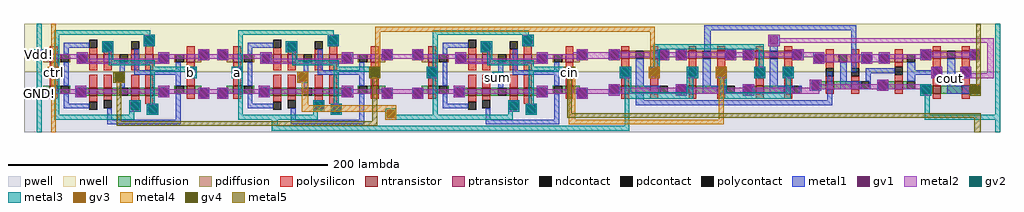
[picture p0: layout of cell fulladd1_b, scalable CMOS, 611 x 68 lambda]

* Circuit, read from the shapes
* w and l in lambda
.subckt fulladd1_b GND! Vdd! a b cin cout ctrl sum
M1 n1 ctrl GND! VSUBS nfet w=5 l=5
M2 n2 n1 GND! VSUBS nfet w=5 l=5
M3 fulladd1_0/b n3 n2 VSUBS nfet w=5 l=5
M4 n4 ctrl fulladd1_0/b VSUBS nfet w=5 l=5
M5 GND! b n4 VSUBS nfet w=5 l=5
M6 GND! b n3 VSUBS nfet w=5 l=5
M7 n5 a GND! VSUBS nfet w=5 l=5
M8 n6 n5 GND! VSUBS nfet w=5 l=5
M9 fulladd1_0/sum_0/mid n7 n6 VSUBS nfet w=5 l=5
M10 n8 a fulladd1_0/sum_0/mid VSUBS nfet w=5 l=5
M11 GND! fulladd1_0/b n8 VSUBS nfet w=5 l=5
M12 GND! fulladd1_0/b n7 VSUBS nfet w=5 l=5
M13 n9 fulladd1_0/sum_0/mid GND! VSUBS nfet w=5 l=5
M14 n10 n9 GND! VSUBS nfet w=5 l=5
M15 sum n11 n10 VSUBS nfet w=5 l=5
M16 n12 fulladd1_0/sum_0/mid sum VSUBS nfet w=5 l=5
M17 GND! cin n12 VSUBS nfet w=5 l=5
M18 GND! cin n11 VSUBS nfet w=5 l=5
M19 n13 a GND! VSUBS nfet w=5 l=5
M20 fulladd1_0/cout_0/ab fulladd1_0/b n13 VSUBS nfet w=5 l=5
M21 n14 a GND! VSUBS nfet w=5 l=5
M22 fulladd1_0/cout_0/acin cin n14 VSUBS nfet w=5 l=5
M23 n15 fulladd1_0/b GND! VSUBS nfet w=5 l=5
M24 fulladd1_0/cout_0/bcin cin n15 VSUBS nfet w=5 l=5
M25 n16 fulladd1_0/cout_0/ab GND! VSUBS nfet w=5 l=5
M26 n17 fulladd1_0/cout_0/acin n16 VSUBS nfet w=5 l=5
M27 fulladd1_0/cout_0/andout n17 GND! VSUBS nfet w=5 l=5
M28 n18 fulladd1_0/cout_0/andout GND! VSUBS nfet w=5 l=5
M29 cout fulladd1_0/cout_0/bcin n18 VSUBS nfet w=5 l=5
M30 n1 ctrl Vdd! n19 pfet w=5 l=5
M31 n20 n1 Vdd! n19 pfet w=5 l=5
M32 fulladd1_0/b b n20 n19 pfet w=5 l=5
M33 n21 n3 fulladd1_0/b n19 pfet w=5 l=5
M34 Vdd! ctrl n21 n19 pfet w=5 l=5
M35 Vdd! b n3 n19 pfet w=5 l=5
M36 n5 a Vdd! n19 pfet w=5 l=5
M37 n22 n5 Vdd! n19 pfet w=5 l=5
M38 fulladd1_0/sum_0/mid fulladd1_0/b n22 n19 pfet w=5 l=5
M39 n23 n7 fulladd1_0/sum_0/mid n19 pfet w=5 l=5
M40 Vdd! a n23 n19 pfet w=5 l=5
M41 Vdd! fulladd1_0/b n7 n19 pfet w=5 l=5
M42 n9 fulladd1_0/sum_0/mid Vdd! n19 pfet w=5 l=5
M43 n24 n9 Vdd! n19 pfet w=5 l=5
M44 sum cin n24 n19 pfet w=5 l=5
M45 n25 n11 sum n19 pfet w=5 l=5
M46 Vdd! fulladd1_0/sum_0/mid n25 n19 pfet w=5 l=5
M47 Vdd! cin n11 n19 pfet w=5 l=5
M48 fulladd1_0/cout_0/ab a Vdd! n19 pfet w=5 l=5
M49 Vdd! fulladd1_0/b fulladd1_0/cout_0/ab n19 pfet w=5 l=5
M50 fulladd1_0/cout_0/acin a Vdd! n19 pfet w=5 l=5
M51 Vdd! cin fulladd1_0/cout_0/acin n19 pfet w=5 l=5
M52 fulladd1_0/cout_0/bcin fulladd1_0/b Vdd! n19 pfet w=5 l=5
M53 Vdd! cin fulladd1_0/cout_0/bcin n19 pfet w=5 l=5
M54 n17 fulladd1_0/cout_0/ab Vdd! n19 pfet w=5 l=5
M55 Vdd! fulladd1_0/cout_0/acin n17 n19 pfet w=5 l=5
M56 fulladd1_0/cout_0/andout n17 Vdd! n19 pfet w=5 l=5
M57 cout fulladd1_0/cout_0/andout Vdd! n19 pfet w=5 l=5
M58 Vdd! fulladd1_0/cout_0/bcin cout n19 pfet w=5 l=5
.ends

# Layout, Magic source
magic
tech scmos
<< nwell >>
rect -121 51 -1 56
<< metal1 >>
rect 458 20 462 30
rect 471 11 478 18
<< metal2 >>
rect -115 33 -108 40
rect -13 34 9 37
rect -65 19 -58 26
rect 172 19 179 26
rect -115 9 -108 16
rect -12 12 10 15
rect 440 11 447 18
rect 471 11 478 18
<< gv1 >>
rect 472 12 477 17
<< metal3 >>
rect -113 40 -110 56
rect -115 33 -108 40
rect -113 -12 -110 33
rect -106 22 -99 29
rect -65 19 -58 26
rect -20 22 -13 29
rect 9 22 16 29
rect 440 11 447 18
rect 471 11 478 18
rect 443 -1 446 11
rect 487 -1 490 56
rect 443 -4 490 -1
rect 487 -12 490 -4
<< gv2 >>
rect -114 34 -109 39
rect -64 20 -59 25
rect 96 23 101 28
rect 441 12 446 17
rect 472 12 477 17
<< metal4 >>
rect -104 29 -101 56
rect -106 22 -99 29
rect -104 -12 -101 22
rect -65 19 -58 26
rect 95 22 102 29
rect 217 22 224 29
rect 471 11 478 18
<< gv3 >>
rect -105 23 -100 28
rect -64 20 -59 25
rect 96 23 101 28
rect 218 23 223 28
rect 472 12 477 17
<< metal5 >>
rect -65 19 -58 26
rect 95 22 102 29
rect 217 22 224 29
rect -63 -5 -60 19
rect 97 -5 100 22
rect 219 0 222 22
rect 475 18 478 56
rect 471 11 478 18
rect 219 -3 478 0
rect -63 -8 100 -5
rect 474 -12 478 -3
<< gv4 >>
rect -64 20 -59 25
rect 96 23 101 28
rect 218 23 223 28
rect 472 12 477 17
use fulladd1  fulladd1_0
transform 1 0 241 0 1 9
box -247 -21 249 47
use xor2  xor2_0
transform 1 0 -80 0 1 32
box -41 -44 81 23
<< labels >>
rlabel metal3 12 25 13 26 1 a
rlabel metal3 -17 25 -16 26 1 b
rlabel metal3 -103 25 -102 26 1 ctrl
rlabel metal2 175 22 176 23 1 sum
rlabel metal1 458 20 460 23 1 cout
rlabel metal2 -112 36 -111 37 1 Vdd!
rlabel metal2 -112 12 -111 13 1 GND!
rlabel metal4 220 25 221 26 1 cin
<< end >>

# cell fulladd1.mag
magic
tech scmos
<< nwell >>
rect -247 39 7 47
<< pwell >>
rect -10 -21 249 -1
<< metal1 >>
rect 218 9 221 14
<< metal2 >>
rect -239 26 -235 30
rect -18 25 9 29
rect -68 11 -63 16
rect -239 2 -236 5
rect -16 3 9 6
<< metal3 >>
rect -230 14 -227 19
rect -23 14 -18 19
rect 71 13 78 20
rect -207 -17 -203 -10
rect 14 -17 17 3
rect -207 -20 17 -17
<< metal4 >>
rect -142 42 33 45
rect -142 20 -139 42
rect 30 20 33 42
rect -146 13 -139 20
rect -24 13 -17 20
rect 29 13 36 20
rect 71 13 78 20
rect -21 -13 -17 13
rect 73 -13 76 13
rect -21 -16 76 -13
<< gv3 >>
rect -145 14 -140 19
rect -23 14 -18 19
rect 30 14 35 19
rect 72 14 77 19
use sum  sum_0
transform 1 0 -236 0 1 -21
box -11 0 233 67
use cout  cout_0
transform 1 0 -2 0 1 -3
box -2 -3 251 50
<< labels >>
rlabel metal3 -229 16 -228 17 1 a
rlabel gv3 -143 16 -142 17 1 b
rlabel gv3 -21 16 -20 17 1 cin
rlabel space -247 -21 -125 46 1 Vdd!
rlabel metal2 -238 3 -237 4 1 GND!
rlabel metal2 -66 13 -65 15 1 sum
rlabel metal1 218 11 219 12 1 cout
rlabel metal2 -238 27 -237 28 1 Vdd!
<< end >>

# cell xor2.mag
magic
tech scmos
<< nwell >>
rect -41 -6 81 23
<< pwell >>
rect -41 -42 81 -6
rect -41 -44 76 -42
<< ntransistor >>
rect -25 -20 -20 -15
rect 0 -21 5 -16
rect 9 -21 14 -16
rect 26 -21 31 -16
rect 35 -21 40 -16
rect 61 -20 66 -15
<< ptransistor >>
rect -25 0 -20 5
rect 0 0 5 5
rect 9 0 14 5
rect 26 0 31 5
rect 35 0 40 5
rect 61 0 66 5
<< ndiffusion >>
rect -35 -22 -34 -17
rect -29 -20 -25 -15
rect -20 -20 -18 -15
rect -13 -20 -12 -15
rect -29 -22 -28 -20
rect -9 -21 -8 -16
rect -3 -21 0 -16
rect 5 -21 9 -16
rect 14 -21 19 -16
rect 24 -21 26 -16
rect 31 -21 35 -16
rect 40 -21 44 -16
rect 53 -20 54 -15
rect 59 -20 61 -15
rect 66 -17 70 -15
rect 66 -20 69 -17
rect 68 -22 69 -20
rect 74 -22 75 -17
<< pdiffusion >>
rect -35 2 -34 7
rect -29 5 -28 7
rect 68 5 69 7
rect -29 0 -25 5
rect -20 0 -18 5
rect -13 0 -12 5
rect -8 0 -7 5
rect -2 0 0 5
rect 5 0 9 5
rect 14 0 19 5
rect 24 0 26 5
rect 31 0 35 5
rect 40 0 44 5
rect 49 0 50 5
rect 53 0 54 5
rect 59 0 61 5
rect 66 2 69 5
rect 74 2 75 7
rect 66 0 70 2
<< ndcontact >>
rect -34 -22 -29 -17
rect -18 -20 -13 -15
rect -8 -21 -3 -16
rect 19 -21 24 -16
rect 44 -21 49 -16
rect 54 -20 59 -15
rect 69 -22 74 -17
<< pdcontact >>
rect -34 2 -29 7
rect -18 0 -13 5
rect -7 0 -2 5
rect 19 0 24 5
rect 44 0 49 5
rect 54 0 59 5
rect 69 2 74 7
<< polysilicon >>
rect -25 5 -20 10
rect 0 5 5 9
rect 9 5 14 7
rect 26 5 31 8
rect 35 5 40 11
rect 61 5 66 10
rect -25 -4 -20 0
rect 0 -5 5 0
rect 9 -5 14 0
rect 26 -5 31 0
rect 35 -5 40 0
rect 61 -4 66 0
rect -25 -15 -20 -9
rect 0 -16 5 -8
rect 9 -16 14 -8
rect 26 -16 31 -8
rect 35 -16 40 -8
rect 61 -15 66 -9
rect -25 -23 -20 -20
rect 0 -25 5 -21
rect 9 -24 14 -21
rect 26 -25 31 -21
rect 35 -26 40 -21
rect 61 -23 66 -20
rect 36 -27 42 -26
<< polycontact >>
rect 0 9 5 14
rect 9 7 14 12
rect 26 8 31 13
rect 35 11 40 16
rect -25 -9 -20 -4
rect 61 -9 66 -4
rect 0 -30 5 -25
rect 9 -29 14 -24
rect 26 -30 31 -25
rect 37 -32 42 -27
<< metal1 >>
rect 34 16 41 17
rect -16 9 0 12
rect 8 12 15 13
rect -35 7 -28 8
rect -35 2 -34 7
rect -29 2 -28 7
rect -16 5 -13 9
rect 8 7 9 12
rect 14 7 15 12
rect 34 11 35 16
rect 40 11 41 16
rect 34 10 41 11
rect 8 6 15 7
rect -35 1 -28 2
rect -26 -4 -19 -3
rect -26 -9 -25 -4
rect -20 -9 -19 -4
rect -26 -10 -19 -9
rect -16 -15 -13 0
rect -8 5 -1 6
rect -8 0 -7 5
rect -2 0 -1 5
rect -8 -1 -1 0
rect 19 -6 22 0
rect 15 -13 22 -6
rect 28 -5 31 8
rect 68 7 75 8
rect 43 5 50 6
rect 43 0 44 5
rect 49 0 50 5
rect 43 -1 50 0
rect 68 2 69 7
rect 74 2 75 7
rect 68 1 75 2
rect 54 -5 57 0
rect 28 -8 57 -5
rect -35 -17 -28 -16
rect -35 -22 -34 -17
rect -29 -22 -28 -17
rect -35 -23 -28 -22
rect -16 -26 -13 -20
rect -9 -16 -2 -15
rect -9 -21 -8 -16
rect -3 -21 -2 -16
rect 19 -16 22 -13
rect 54 -15 57 -8
rect 60 -4 67 -3
rect 60 -9 61 -4
rect 66 -9 67 -4
rect 60 -10 67 -9
rect 43 -16 50 -15
rect 43 -21 44 -16
rect 49 -21 50 -16
rect -9 -22 -2 -21
rect 43 -22 50 -21
rect 68 -17 75 -16
rect -16 -29 0 -26
rect 11 -36 14 -29
rect 25 -25 32 -24
rect 25 -30 26 -25
rect 31 -30 32 -25
rect 25 -31 32 -30
rect 36 -27 43 -26
rect 36 -32 37 -27
rect 42 -32 43 -27
rect 36 -33 43 -32
rect 54 -36 57 -20
rect 68 -22 69 -17
rect 74 -22 75 -17
rect 68 -23 75 -22
rect 11 -39 57 -36
<< metal2 >>
rect -35 5 -28 8
rect 8 6 15 13
rect 34 10 41 17
rect -8 5 -1 6
rect -35 2 -1 5
rect 43 5 50 6
rect 68 5 75 8
rect 43 2 75 5
rect -35 1 -28 2
rect -8 -1 50 2
rect 68 1 75 2
rect -26 -10 -19 -3
rect 15 -13 22 -6
rect 60 -10 67 -3
rect -35 -17 -28 -16
rect -9 -17 -2 -15
rect 43 -17 50 -15
rect 68 -17 75 -16
rect -35 -20 75 -17
rect -35 -23 -28 -20
rect -9 -22 -2 -20
rect 43 -22 50 -20
rect 68 -23 75 -20
rect 25 -31 32 -24
rect 36 -33 43 -26
<< gv1 >>
rect 9 7 14 12
rect 35 11 40 16
rect -34 2 -29 7
rect -7 0 -2 5
rect 44 0 49 5
rect 69 2 74 7
rect -25 -9 -20 -4
rect 16 -12 21 -7
rect 61 -9 66 -4
rect -34 -22 -29 -17
rect -8 -21 -3 -16
rect 44 -21 49 -16
rect 69 -22 74 -17
rect 26 -30 31 -25
rect 37 -32 42 -27
<< metal3 >>
rect -22 17 38 20
rect -22 -3 -19 17
rect 8 6 15 13
rect 34 10 41 17
rect 12 1 15 6
rect 12 -2 41 1
rect -26 -10 -19 -3
rect 38 -3 41 -2
rect 38 -6 67 -3
rect -22 -33 -19 -10
rect 15 -13 22 -6
rect 25 -31 32 -24
rect 38 -26 41 -6
rect 60 -10 67 -6
rect 25 -33 28 -31
rect 36 -33 43 -26
rect -22 -36 28 -33
<< gv2 >>
rect 9 7 14 12
rect 35 11 40 16
rect -25 -9 -20 -4
rect 61 -9 66 -4
rect 26 -30 31 -25
rect 37 -32 42 -27
<< labels >>
rlabel gv2 63 -7 64 -6 1 b
rlabel metal1 20 -9 21 -8 1 out
rlabel gv2 -23 -7 -22 -6 1 a
rlabel gv1 -32 4 -31 5 1 Vdd!
rlabel gv1 -32 -20 -31 -19 1 GND!
<< end >>

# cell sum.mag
magic
tech scmos
<< pwell >>
rect 99 15 107 17
rect 107 10 112 11
rect 101 8 112 10
rect 101 0 122 8
rect 224 0 233 6
<< metal2 >>
rect -5 45 2 52
rect 97 46 132 49
rect 4 34 11 41
rect 90 34 97 41
rect 167 31 174 38
rect -5 21 2 28
rect 96 24 131 27
<< metal3 >>
rect 4 34 11 41
rect 45 31 52 38
rect 90 34 97 41
rect 212 34 219 41
rect 100 11 107 15
rect 100 8 134 11
<< gv2 >>
rect 46 32 51 37
<< metal4 >>
rect 45 31 52 38
rect 48 17 52 31
rect 48 13 107 17
rect 100 8 107 13
<< gv3 >>
rect 46 32 51 37
rect 101 9 106 14
use xor2  xor2_1
transform 1 0 152 0 1 44
box -41 -44 81 23
use xor2  xor2_0
transform 1 0 30 0 1 44
box -41 -44 81 23
<< labels >>
rlabel metal3 7 37 8 38 1 a
rlabel metal3 93 37 94 38 1 b
rlabel metal3 215 37 216 38 1 cin
rlabel metal2 170 34 171 35 1 out
rlabel metal2 -2 48 -1 49 1 Vdd!
rlabel metal2 -2 24 -1 25 1 GND!
rlabel gv2 47 33 49 35 1 mid
<< end >>

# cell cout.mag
magic
tech scmos
<< nwell >>
rect -2 35 251 50
rect -1 24 251 35
rect -1 23 125 24
rect -1 20 124 23
rect 132 20 251 24
<< pwell >>
rect -1 11 124 20
rect 132 18 251 20
rect 131 16 251 18
rect -1 10 127 11
rect 129 10 251 16
rect -1 -3 251 10
<< metal1 >>
rect 66 46 161 49
rect 66 29 70 46
rect 106 36 113 43
rect 107 30 112 36
rect 24 15 27 20
rect 66 16 69 21
rect 108 17 111 22
rect 158 20 161 46
rect 195 21 197 23
rect 23 2 28 14
rect 125 6 127 11
rect 143 2 146 20
rect 194 18 211 21
rect 219 17 222 22
rect 23 -1 146 2
<< metal2 >>
rect 106 41 113 43
rect 106 38 247 41
rect 106 36 113 38
rect 6 28 12 33
rect 36 29 61 32
rect 79 29 104 32
rect 120 29 139 32
rect 175 28 207 31
rect 14 17 19 22
rect 31 16 38 23
rect 55 16 62 23
rect 73 16 80 23
rect 115 16 122 23
rect 243 19 247 38
rect 231 16 247 19
rect 7 10 13 11
rect 7 6 138 10
rect 176 9 208 12
<< gv1 >>
rect 107 37 112 42
<< metal3 >>
rect 34 34 103 37
rect 34 23 38 34
rect 100 23 103 34
rect 13 16 20 23
rect 31 16 38 23
rect 55 16 62 23
rect 73 16 80 23
rect 97 16 104 23
rect 115 16 122 23
rect 16 7 20 16
rect 55 7 59 16
rect 16 3 59 7
rect 76 7 80 16
rect 117 7 120 16
rect 76 3 120 7
<< gv2 >>
rect 14 17 19 22
rect 32 17 37 22
rect 56 17 61 22
rect 74 17 79 22
rect 98 17 103 22
rect 116 17 121 22
use nand2  nand2_3
transform 1 0 214 0 1 22
box -20 -22 30 16
use and2  and2_0
transform 1 0 147 0 1 22
box -21 -19 60 15
use nand2  nand2_0
transform 1 0 19 0 1 22
box -20 -22 30 16
use nand2  nand2_1
transform 1 0 61 0 1 22
box -20 -22 30 16
use nand2  nand2_2
transform 1 0 103 0 1 22
box -20 -22 30 16
<< labels >>
rlabel metal2 6 28 12 33 1 Vdd!
rlabel metal2 14 17 19 22 1 a
rlabel metal2 32 17 37 22 1 b
rlabel metal2 74 17 79 22 1 cin
rlabel metal1 24 15 27 20 1 ab
rlabel metal1 66 16 69 21 1 acin
rlabel metal1 108 17 111 22 1 bcin
rlabel metal2 10 7 13 11 1 GND!
rlabel metal1 195 18 197 23 1 andout
rlabel metal1 219 17 222 22 1 cout
<< end >>

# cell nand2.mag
magic
tech scmos
<< nwell >>
rect -20 -2 28 16
<< pwell >>
rect -20 -22 30 -2
<< ntransistor >>
rect -5 -16 0 -11
rect 13 -16 18 -11
<< ptransistor >>
rect -5 6 0 11
rect 13 6 18 11
<< ndiffusion >>
rect -7 -16 -5 -11
rect 0 -16 13 -11
rect 18 -16 19 -11
<< pdiffusion >>
rect -7 6 -5 11
rect 0 6 4 11
rect 9 6 13 11
rect 18 6 19 11
<< ndcontact >>
rect -12 -16 -7 -11
rect 19 -16 24 -11
<< pdcontact >>
rect -12 6 -7 11
rect 4 6 9 11
rect 19 6 24 11
<< polysilicon >>
rect -5 11 0 14
rect 13 11 18 14
rect -5 0 0 6
rect -5 -11 0 -5
rect 13 0 18 6
rect 13 -11 18 -5
rect -5 -19 0 -16
rect 13 -19 18 -16
<< polycontact >>
rect -5 -5 0 0
rect 13 -5 18 0
<< metal1 >>
rect -13 11 -6 12
rect 18 11 25 12
rect -13 6 -12 11
rect -7 6 -6 11
rect -13 5 -6 6
rect -6 0 1 1
rect -6 -5 -5 0
rect 0 -5 1 0
rect -6 -6 1 -5
rect -13 -11 -6 -10
rect -13 -16 -12 -11
rect -7 -16 -6 -11
rect 4 -11 9 6
rect 18 6 19 11
rect 24 6 25 11
rect 18 5 25 6
rect 12 0 19 1
rect 12 -5 13 0
rect 18 -5 19 0
rect 12 -6 19 -5
rect 4 -16 19 -11
rect -13 -17 -6 -16
<< metal2 >>
rect -13 10 -6 12
rect 18 10 25 12
rect -13 7 25 10
rect -13 5 -6 7
rect 18 5 25 7
rect -6 -6 1 1
rect 12 -6 19 1
rect -13 -17 -6 -10
<< gv1 >>
rect -12 6 -7 11
rect 19 6 24 11
rect -5 -5 0 0
rect 13 -5 18 0
rect -12 -16 -7 -11
<< labels >>
rlabel pdcontact -10 8 -9 9 1 Vdd!
rlabel polycontact -3 -3 -2 -2 1 a
rlabel gv1 -11 -14 -9 -13 1 GND!
rlabel metal1 6 -3 7 -2 1 out
rlabel polycontact 15 -3 16 -2 1 b
<< end >>

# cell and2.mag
magic
tech scmos
<< nwell >>
rect -21 -2 60 15
<< pwell >>
rect -21 -19 60 -2
<< ntransistor >>
rect -5 -13 0 -8
rect 11 -13 16 -8
rect 38 -13 43 -8
<< ptransistor >>
rect -5 4 0 9
rect 11 4 16 9
rect 38 4 43 9
<< ndiffusion >>
rect -9 -13 -5 -8
rect 0 -13 11 -8
rect 16 -13 17 -8
rect 33 -13 38 -8
rect 43 -13 46 -8
<< pdiffusion >>
rect -7 4 -5 9
rect 0 4 3 9
rect 8 4 11 9
rect 16 4 18 9
rect 34 4 38 9
rect 43 4 46 9
<< ndcontact >>
rect -14 -13 -9 -8
rect 17 -13 22 -8
rect 28 -13 33 -8
rect 46 -13 51 -8
<< pdcontact >>
rect -12 4 -7 9
rect 3 4 8 9
rect 18 4 23 9
rect 29 4 34 9
rect 46 4 51 9
<< polysilicon >>
rect -5 9 0 12
rect 11 9 16 12
rect 38 9 43 12
rect -5 0 0 4
rect -5 -8 0 -5
rect 11 0 16 4
rect 11 -8 16 -5
rect 38 1 43 4
rect 38 -8 43 -4
rect -5 -16 0 -13
rect 11 -16 16 -13
rect 38 -16 43 -13
<< polycontact >>
rect -5 -5 0 0
rect 11 -5 16 0
rect 38 -4 43 1
<< metal1 >>
rect -13 9 -6 10
rect 17 9 24 10
rect -13 4 -12 9
rect -7 4 -6 9
rect -13 3 -6 4
rect -15 -8 -8 -7
rect -15 -13 -14 -8
rect -9 -13 -8 -8
rect 4 -8 8 4
rect 17 4 18 9
rect 23 4 24 9
rect 17 3 24 4
rect 28 9 35 10
rect 28 4 29 9
rect 34 4 35 9
rect 28 3 35 4
rect 20 -3 38 0
rect 20 -8 23 -3
rect 4 -13 17 -8
rect 22 -13 23 -8
rect 27 -8 34 -7
rect 27 -13 28 -8
rect 33 -13 34 -8
rect 46 -8 51 4
rect -15 -14 -8 -13
rect 27 -14 34 -13
<< metal2 >>
rect -13 9 -6 10
rect 17 9 24 10
rect 28 9 35 10
rect -13 4 35 9
rect -13 3 -6 4
rect 17 3 24 4
rect 28 3 35 4
rect -15 -10 -8 -7
rect 27 -10 34 -7
rect -15 -13 34 -10
rect -15 -14 -8 -13
rect 27 -14 34 -13
<< gv1 >>
rect -12 4 -7 9
rect 18 4 23 9
rect 29 4 34 9
rect -14 -13 -9 -8
rect 28 -13 33 -8
<< labels >>
rlabel pdcontact -10 6 -9 7 1 Vdd!
rlabel polycontact -3 -3 -2 -2 1 a
rlabel polycontact 13 -3 14 -2 1 b
rlabel ndcontact -12 -11 -11 -10 1 GND!
rlabel metal1 48 -2 50 -1 1 out
<< end >>
